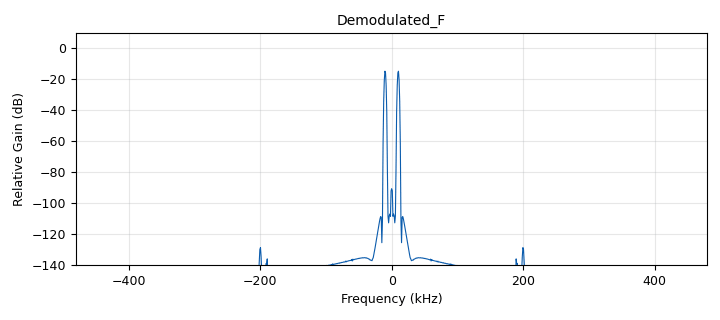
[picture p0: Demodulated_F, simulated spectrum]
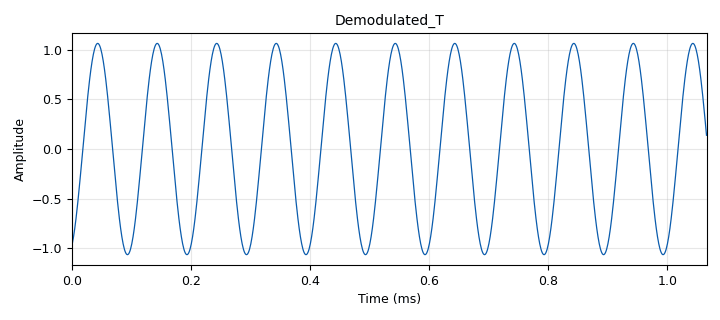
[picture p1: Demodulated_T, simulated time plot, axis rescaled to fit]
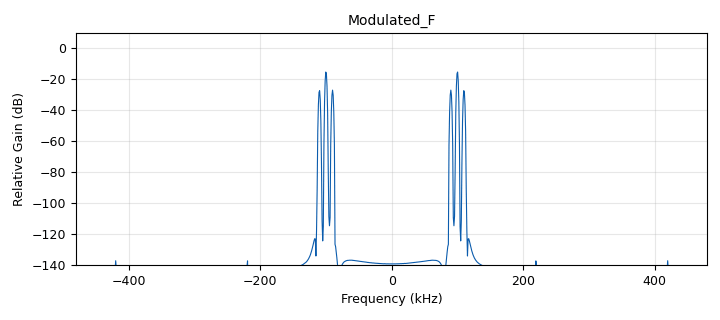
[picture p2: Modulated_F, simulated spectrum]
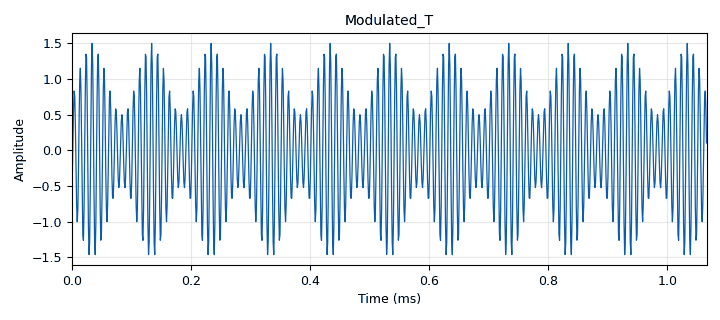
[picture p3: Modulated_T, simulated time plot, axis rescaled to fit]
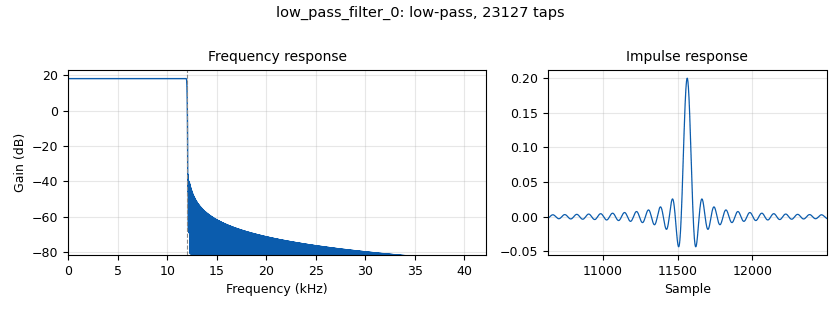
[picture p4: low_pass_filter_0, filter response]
options:
  parameters:
    generate_options: qt_gui
    id: top_block
    output_language: python
  states: {}

blocks:
- name: samp_rate
  id: variable
  parameters:
    value: '960000'
  states: {}
- name: Demodulated_F
  id: qtgui_freq_sink_x
  parameters:
    bw: samp_rate
    fc: '0'
    fftsize: '1024'
    gui_hint: tab@3
    showports: 'True'
    type: float
    wintype: firdes.WIN_BLACKMAN_hARRIS
  states: {}
- name: Demodulated_T
  id: qtgui_time_sink_x
  parameters:
    gui_hint: tab@2
    label1: ''
    size: '1024'
    srate: samp_rate
    type: float
  states: {}
- name: Modulated_F
  id: qtgui_freq_sink_x
  parameters:
    bw: samp_rate
    fc: '0'
    fftsize: '1024'
    gui_hint: tab@1
    showports: 'True'
    type: float
    wintype: firdes.WIN_BLACKMAN_hARRIS
  states: {}
- name: Modulated_T
  id: qtgui_time_sink_x
  parameters:
    gui_hint: tab@0
    label1: ''
    size: '1024'
    srate: samp_rate
    type: float
  states: {}
- name: analog_sig_source_x_0
  id: analog_sig_source_x
  parameters:
    amp: '1'
    freq: '100000'
    offset: '0'
    phase: '0'
    samp_rate: samp_rate
    type: float
    waveform: analog.GR_COS_WAVE
  states: {}
- name: analog_sig_source_x_0_0
  id: analog_sig_source_x
  parameters:
    amp: '0.5'
    freq: '10000'
    offset: '0'
    phase: '0'
    samp_rate: samp_rate
    type: float
    waveform: analog.GR_COS_WAVE
  states: {}
- name: analog_sig_source_x_0_1
  id: analog_sig_source_x
  parameters:
    amp: '1'
    freq: '100000'
    offset: '0'
    phase: '0'
    samp_rate: samp_rate
    type: float
    waveform: analog.GR_COS_WAVE
  states: {}
- name: blocks_add_const_vxx_0
  id: blocks_add_const_vxx
  parameters:
    const: '1'
    type: float
  states: {}
- name: blocks_multiply_xx_0
  id: blocks_multiply_xx
  parameters:
    type: float
  states: {}
- name: blocks_multiply_xx_1
  id: blocks_multiply_xx
  parameters:
    type: float
  states: {}
- name: dc_blocker_xx_0
  id: dc_blocker_xx
  parameters:
    length: '32'
    long_form: 'True'
    type: ff
  states: {}
- name: low_pass_filter_0
  id: low_pass_filter
  parameters:
    cutoff_freq: '12000'
    gain: '8'
    interp: '1'
    samp_rate: samp_rate
    type: interp_fir_filter_fff
    width: '100'
    win: firdes.WIN_HAMMING
  states: {}
- name: tab
  id: qtgui_tab_widget
  parameters:
    label0: Modulated_T
    label1: Modulated_F
    label2: Demodulated_T
    label3: Demodulated_F
    num_tabs: '4'
  states: {}

connections:
- [analog_sig_source_x_0, '0', blocks_multiply_xx_0, '1']
- [analog_sig_source_x_0_0, '0', blocks_add_const_vxx_0, '0']
- [analog_sig_source_x_0_1, '0', blocks_multiply_xx_1, '0']
- [blocks_add_const_vxx_0, '0', blocks_multiply_xx_0, '0']
- [blocks_multiply_xx_0, '0', Modulated_F, '0']
- [blocks_multiply_xx_0, '0', Modulated_T, '0']
- [blocks_multiply_xx_0, '0', blocks_multiply_xx_1, '1']
- [blocks_multiply_xx_1, '0', dc_blocker_xx_0, '0']
- [dc_blocker_xx_0, '0', low_pass_filter_0, '0']
- [low_pass_filter_0, '0', Demodulated_F, '0']
- [low_pass_filter_0, '0', Demodulated_T, '0']

metadata:
  file_format: 1
